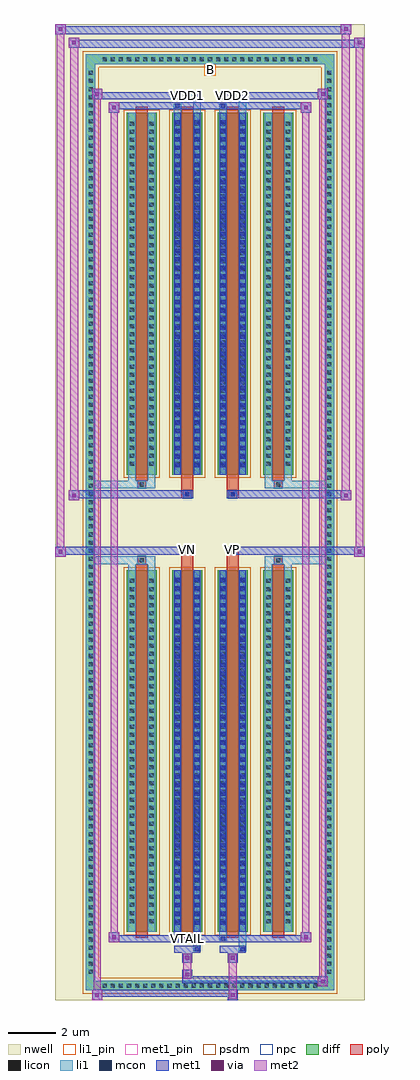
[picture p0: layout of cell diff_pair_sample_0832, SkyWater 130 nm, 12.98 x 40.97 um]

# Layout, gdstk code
import gdstk
lib = gdstk.Library(unit=1e-6, precision=5e-09)
def R(c, l, rs):  # rectangles x0, y0, x1, y1
    for r in rs: c.add(gdstk.rectangle(r[:2], r[2:], *l))
def A(c, l, x, y, w, h, nx, ny, dx, dy):  # array of equal rectangles
    R(c, l, [(x+i*dx, y+j*dy, x+i*dx+w, y+j*dy+h) for i in range(nx) for j in range(ny)])
def P(c, l, *ps):  # polygons
    for p in ps: c.add(gdstk.Polygon(p, *l))
nwell = (64, 20)
diff = (65, 20)
poly = (66, 20)
licon = (66, 44)
li1_pin = (67, 16)
li1 = (67, 20)
mcon = (67, 44)
met1_pin = (68, 16)
met1 = (68, 20)
via = (68, 44)
met2 = (69, 20)
psdm = (94, 20)
npc = (95, 20)

diff_pair_sample_0832 = lib.new_cell('diff_pair_sample_0832')
R(diff_pair_sample_0832, nwell, [(-6.49,-20.05,6.49,20.92), (-3.81,-18.24,-0.01,-0.82), (0.01,-18.24,3.81,-0.82), (-3.81,0.82,-0.01,18.24), (0.01,0.82,3.81,18.24)])
A(diff_pair_sample_0832, diff, -4.625, -19.65, 0.41, 0.41, 27, 2, 0.34, 38.89)
A(diff_pair_sample_0832, diff, -5.22, -19.075, 0.41, 0.41, 1, 112, 0, 0.34)
A(diff_pair_sample_0832, diff, 4.81, -19.075, 0.41, 0.41, 1, 112, 0, 0.34)
A(diff_pair_sample_0832, diff, -3.5, -17.195, 1.27, 15.19, 4, 2, 1.91, 19.2)
R(diff_pair_sample_0832, diff, [(-4.625,-19.65,4.625,-19.24), (-5.22,-19.075,-4.81,19.075), (4.81,-19.075,5.22,19.075), (-4.625,19.24,4.625,19.65)])
P(diff_pair_sample_0832, diff, [(5.22,19.65),(-5.22,19.65),(-5.22,-19.24),(-4.81,-19.24),(-4.81,19.24),(4.81,19.24),(4.81,-19.24),(-4.81,-19.24),(-5.22,-19.24),(-5.22,-19.65),(5.22,-19.65)])
A(diff_pair_sample_0832, poly, -3.11, -17.445, 0.49, 15.69, 4, 2, 1.91, 19.2)
R(diff_pair_sample_0832, poly, [(-3.03,-1.755,-2.7,-1.425), (-3.03,-1.755,-2.7,-1.425), (-1.2,-1.755,-0.71,-1.35), (0.71,-1.755,1.2,-1.35), (2.7,-1.755,3.03,-1.425), (2.7,-1.755,3.03,-1.425), (-1.2,-1.35,-0.71,-1.02), (-1.12,-1.35,-0.79,-1.02), (0.71,-1.35,1.2,-1.02), (0.79,-1.35,1.12,-1.02), (-1.2,1.02,-0.71,1.35), (-1.12,1.02,-0.79,1.35), (0.71,1.02,1.2,1.35), (0.79,1.02,1.12,1.35), (-1.2,1.35,-0.71,1.755), (0.71,1.35,1.2,1.755), (-3.03,1.425,-2.7,1.755), (-3.03,1.425,-2.7,1.755), (2.7,1.425,3.03,1.755), (2.7,1.425,3.03,1.755)])
A(diff_pair_sample_0832, licon, -4.505, -19.53, 0.17, 0.17, 27, 2, 0.34, 38.89)
A(diff_pair_sample_0832, licon, -5.1, -18.955, 0.17, 0.17, 1, 112, 0, 0.34)
A(diff_pair_sample_0832, licon, 4.93, -18.955, 0.17, 0.17, 1, 112, 0, 0.34)
A(diff_pair_sample_0832, licon, -3.36, -16.825, 0.17, 0.17, 1, 43, 0, 0.34)
A(diff_pair_sample_0832, licon, -2.54, -16.825, 0.17, 0.17, 1, 43, 0, 0.34)
A(diff_pair_sample_0832, licon, -1.45, -16.825, 0.17, 0.17, 1, 43, 0, 0.34)
A(diff_pair_sample_0832, licon, -0.63, -16.825, 0.17, 0.17, 1, 43, 0, 0.34)
A(diff_pair_sample_0832, licon, 0.46, -16.825, 0.17, 0.17, 1, 43, 0, 0.34)
A(diff_pair_sample_0832, licon, 1.28, -16.825, 0.17, 0.17, 1, 43, 0, 0.34)
A(diff_pair_sample_0832, licon, 2.37, -16.825, 0.17, 0.17, 1, 43, 0, 0.34)
A(diff_pair_sample_0832, licon, 3.19, -16.825, 0.17, 0.17, 1, 43, 0, 0.34)
A(diff_pair_sample_0832, licon, -3.36, 2.375, 0.17, 0.17, 1, 43, 0, 0.34)
A(diff_pair_sample_0832, licon, -2.54, 2.375, 0.17, 0.17, 1, 43, 0, 0.34)
A(diff_pair_sample_0832, licon, -1.45, 2.375, 0.17, 0.17, 1, 43, 0, 0.34)
A(diff_pair_sample_0832, licon, -0.63, 2.375, 0.17, 0.17, 1, 43, 0, 0.34)
A(diff_pair_sample_0832, licon, 0.46, 2.375, 0.17, 0.17, 1, 43, 0, 0.34)
A(diff_pair_sample_0832, licon, 1.28, 2.375, 0.17, 0.17, 1, 43, 0, 0.34)
A(diff_pair_sample_0832, licon, 2.37, 2.375, 0.17, 0.17, 1, 43, 0, 0.34)
A(diff_pair_sample_0832, licon, 3.19, 2.375, 0.17, 0.17, 1, 43, 0, 0.34)
R(diff_pair_sample_0832, licon, [(-2.95,-1.675,-2.78,-1.505), (2.78,-1.675,2.95,-1.505), (-1.04,-1.27,-0.87,-1.1), (0.87,-1.27,1.04,-1.1), (-1.04,1.1,-0.87,1.27), (0.87,1.1,1.04,1.27), (-2.95,1.505,-2.78,1.675), (2.78,1.505,2.95,1.675)])
R(diff_pair_sample_0832, li1_pin, [(-0.25,18.74,0.25,19.24)])
A(diff_pair_sample_0832, li1, -4.585, -19.61, 0.33, 0.33, 27, 2, 0.34, 38.89)
A(diff_pair_sample_0832, li1, -5.18, -19.035, 0.33, 0.33, 1, 112, 0, 0.34)
A(diff_pair_sample_0832, li1, 4.85, -19.035, 0.33, 0.33, 1, 112, 0, 0.34)
A(diff_pair_sample_0832, li1, -3.44, -16.905, 0.33, 0.33, 1, 43, 0, 0.34)
A(diff_pair_sample_0832, li1, -2.62, -16.905, 0.33, 0.33, 1, 43, 0, 0.34)
A(diff_pair_sample_0832, li1, -1.53, -16.905, 0.33, 0.33, 1, 43, 0, 0.34)
A(diff_pair_sample_0832, li1, -0.71, -16.905, 0.33, 0.33, 1, 43, 0, 0.34)
A(diff_pair_sample_0832, li1, 0.38, -16.905, 0.33, 0.33, 1, 43, 0, 0.34)
A(diff_pair_sample_0832, li1, 1.2, -16.905, 0.33, 0.33, 1, 43, 0, 0.34)
A(diff_pair_sample_0832, li1, 2.29, -16.905, 0.33, 0.33, 1, 43, 0, 0.34)
A(diff_pair_sample_0832, li1, 3.11, -16.905, 0.33, 0.33, 1, 43, 0, 0.34)
A(diff_pair_sample_0832, li1, -1.45, -16.885, 0.17, 0.17, 1, 41, 0, 0.36)
A(diff_pair_sample_0832, li1, -0.63, -16.885, 0.17, 0.17, 1, 41, 0, 0.36)
A(diff_pair_sample_0832, li1, 0.46, -16.885, 0.17, 0.17, 1, 41, 0, 0.36)
A(diff_pair_sample_0832, li1, 1.28, -16.885, 0.17, 0.17, 1, 41, 0, 0.36)
A(diff_pair_sample_0832, li1, -3.44, 2.295, 0.33, 0.33, 1, 43, 0, 0.34)
A(diff_pair_sample_0832, li1, -2.62, 2.295, 0.33, 0.33, 1, 43, 0, 0.34)
A(diff_pair_sample_0832, li1, -1.53, 2.295, 0.33, 0.33, 1, 43, 0, 0.34)
A(diff_pair_sample_0832, li1, -0.71, 2.295, 0.33, 0.33, 1, 43, 0, 0.34)
A(diff_pair_sample_0832, li1, 0.38, 2.295, 0.33, 0.33, 1, 43, 0, 0.34)
A(diff_pair_sample_0832, li1, 1.2, 2.295, 0.33, 0.33, 1, 43, 0, 0.34)
A(diff_pair_sample_0832, li1, 2.29, 2.295, 0.33, 0.33, 1, 43, 0, 0.34)
A(diff_pair_sample_0832, li1, 3.11, 2.295, 0.33, 0.33, 1, 43, 0, 0.34)
A(diff_pair_sample_0832, li1, -1.45, 2.315, 0.17, 0.17, 1, 41, 0, 0.36)
A(diff_pair_sample_0832, li1, -0.63, 2.315, 0.17, 0.17, 1, 41, 0, 0.36)
A(diff_pair_sample_0832, li1, 0.46, 2.315, 0.17, 0.17, 1, 41, 0, 0.36)
A(diff_pair_sample_0832, li1, 1.28, 2.315, 0.17, 0.17, 1, 41, 0, 0.36)
R(diff_pair_sample_0832, li1, [(-5.22,-19.65,-4.81,-19.24), (-5.22,-19.65,-4.81,-19.24), (-4.81,-19.65,4.81,-19.24), (4.81,-19.65,5.22,-19.24), (4.81,-19.65,5.22,-19.24), (-5.22,-19.24,-4.81,19.24), (4.81,-19.24,5.22,19.24), (-0.71,-18,-0.38,-17.195), (-0.63,-18,-0.46,-17.83), (1.2,-18,1.53,-17.195), (1.28,-18,1.45,-17.83), (-1.53,-17.57,-1.2,-17.195), (-1.45,-17.57,-1.28,-17.4), (0.38,-17.57,0.71,-17.195), (0.46,-17.57,0.63,-17.4), (-3.44,-17.195,-3.11,-2.005), (-2.62,-17.195,-2.29,-2.005), (-1.53,-17.195,-1.2,-2.005), (-0.71,-17.195,-0.38,-2.005), (0.38,-17.195,0.71,-2.005), (1.2,-17.195,1.53,-2.005), (2.29,-17.195,2.62,-2.005), (3.11,-17.195,3.44,-2.005), (-1.45,-16.885,-1.28,-2.315), (-0.63,-16.885,-0.46,-2.315), (0.46,-16.885,0.63,-2.315), (1.28,-16.885,1.45,-2.315), (-3.44,-2.005,-3.11,-1.425), (-2.62,-2.005,-2.29,-1.425), (2.29,-2.005,2.62,-1.425), (3.11,-2.005,3.44,-1.425), (-5.22,-1.755,-3.03,-1.425), (-3.44,-1.755,-3.03,-1.425), (-3.03,-1.755,-2.7,-1.425), (-2.7,-1.755,-2.29,-1.425), (2.29,-1.755,2.7,-1.425), (2.7,-1.755,3.03,-1.425), (2.7,-1.755,5.22,-1.425), (3.03,-1.755,3.44,-1.425), (-1.12,-1.35,-0.79,-1.02), (0.79,-1.35,1.12,-1.02), (-1.12,1.02,-0.79,1.35), (0.79,1.02,1.12,1.35), (-5.22,1.425,-3.03,1.755), (-3.44,1.425,-3.03,1.755), (-3.44,1.425,-3.11,2.005), (-3.03,1.425,-2.7,1.755), (-2.7,1.425,-2.29,1.755), (-2.62,1.425,-2.29,2.005), (2.29,1.425,2.7,1.755), (2.29,1.425,2.62,2.005), (2.7,1.425,3.03,1.755), (2.7,1.425,5.22,1.755), (3.03,1.425,3.44,1.755), (3.11,1.425,3.44,2.005), (-3.44,2.005,-3.11,17.195), (-2.62,2.005,-2.29,17.195), (-1.53,2.005,-1.2,17.195), (-0.71,2.005,-0.38,17.195), (0.38,2.005,0.71,17.195), (1.2,2.005,1.53,17.195), (2.29,2.005,2.62,17.195), (3.11,2.005,3.44,17.195), (-1.45,2.315,-1.28,16.885), (-0.63,2.315,-0.46,16.885), (0.46,2.315,0.63,16.885), (1.28,2.315,1.45,16.885), (-1.53,17.195,-1.2,17.57), (-0.71,17.195,-0.38,18), (0.38,17.195,0.71,17.57), (1.2,17.195,1.53,18), (-1.45,17.4,-1.28,17.57), (0.46,17.4,0.63,17.57), (-0.63,17.83,-0.46,18), (1.28,17.83,1.45,18), (-5.22,19.24,-4.81,19.65), (-5.22,19.24,-4.81,19.65), (-4.81,19.24,4.81,19.65), (4.81,19.24,5.22,19.65), (4.81,19.24,5.22,19.65)])
A(diff_pair_sample_0832, mcon, -1.45, -16.885, 0.17, 0.17, 1, 41, 0, 0.36)
A(diff_pair_sample_0832, mcon, -0.63, -16.885, 0.17, 0.17, 1, 41, 0, 0.36)
A(diff_pair_sample_0832, mcon, 0.46, -16.885, 0.17, 0.17, 1, 41, 0, 0.36)
A(diff_pair_sample_0832, mcon, 1.28, -16.885, 0.17, 0.17, 1, 41, 0, 0.36)
A(diff_pair_sample_0832, mcon, -1.45, 2.315, 0.17, 0.17, 1, 41, 0, 0.36)
A(diff_pair_sample_0832, mcon, -0.63, 2.315, 0.17, 0.17, 1, 41, 0, 0.36)
A(diff_pair_sample_0832, mcon, 0.46, 2.315, 0.17, 0.17, 1, 41, 0, 0.36)
A(diff_pair_sample_0832, mcon, 1.28, 2.315, 0.17, 0.17, 1, 41, 0, 0.36)
R(diff_pair_sample_0832, mcon, [(-0.63,-18,-0.46,-17.83), (1.28,-18,1.45,-17.83), (-1.45,-17.57,-1.28,-17.4), (0.46,-17.57,0.63,-17.4), (-1.04,-1.27,-0.87,-1.1), (0.87,-1.27,1.04,-1.1), (-1.04,1.1,-0.87,1.27), (0.87,1.1,1.04,1.27), (-1.45,17.4,-1.28,17.57), (0.46,17.4,0.63,17.57), (-0.63,17.83,-0.46,18), (1.28,17.83,1.45,18)])
R(diff_pair_sample_0832, met1_pin, [(-1.09,-17.61,-0.82,-17.34), (-1.09,-1.29,-0.82,-1.02), (0.82,-1.29,1.09,-1.02), (-1.09,17.79,-0.82,18.06), (0.82,17.79,1.09,18.06)])
A(diff_pair_sample_0832, met1, -1.51, -16.945, 0.29, 0.29, 1, 41, 0, 0.36)
A(diff_pair_sample_0832, met1, -0.69, -16.945, 0.29, 0.29, 1, 41, 0, 0.36)
A(diff_pair_sample_0832, met1, 0.4, -16.945, 0.29, 0.29, 1, 41, 0, 0.36)
A(diff_pair_sample_0832, met1, 1.22, -16.945, 0.29, 0.29, 1, 41, 0, 0.36)
A(diff_pair_sample_0832, met1, -1.51, 2.255, 0.29, 0.29, 1, 41, 0, 0.36)
A(diff_pair_sample_0832, met1, -0.69, 2.255, 0.29, 0.29, 1, 41, 0, 0.36)
A(diff_pair_sample_0832, met1, 0.4, 2.255, 0.29, 0.29, 1, 41, 0, 0.36)
A(diff_pair_sample_0832, met1, 1.22, 2.255, 0.29, 0.29, 1, 41, 0, 0.36)
R(diff_pair_sample_0832, met1, [(-4.95,-20.05,-4.52,-19.62), (0.74,-20.05,1.17,-19.62), (-4.95,-19.91,1.17,-19.62), (4.52,-19.48,4.95,-19.05), (-1.17,-19.34,4.95,-19.05), (-1.17,-19.2,-0.74,-18.77), (-1.17,-18.49,-0.74,-18.06), (0.74,-18.49,1.17,-18.06), (-1.51,-18.06,-0.4,-17.77), (-0.69,-18.06,-0.4,-17.77), (0.4,-18.06,1.51,-17.77), (1.22,-18.06,1.51,-17.77), (-4.24,-17.63,-3.81,-17.2), (-4.24,-17.63,-1.51,-17.34), (-1.51,-17.63,-1.22,-17.34), (-1.51,-17.63,-0.4,-17.34), (-0.4,-17.63,0.4,-17.34), (0.4,-17.63,0.69,-17.34), (0.4,-17.63,1.51,-17.34), (1.51,-17.63,4.24,-17.34), (3.81,-17.63,4.24,-17.2), (-1.51,-17.195,-1.22,-2.005), (-0.69,-17.195,-0.4,-2.005), (0.4,-17.195,0.69,-2.005), (1.22,-17.195,1.51,-2.005), (-6.49,-1.45,-6.06,-1.02), (6.06,-1.45,6.49,-1.02), (-6.49,-1.35,-0.71,-1.02), (-1.2,-1.35,-0.71,-1.02), (0.71,-1.35,1.2,-1.02), (0.71,-1.35,6.49,-1.02), (-1.1,-1.33,-0.81,-1.04), (0.81,-1.33,1.1,-1.04), (-5.92,0.92,-5.49,1.35), (5.49,0.92,5.92,1.35), (-5.92,1.02,-1.2,1.35), (-1.2,1.02,-0.71,1.35), (0.71,1.02,1.2,1.35), (1.2,1.02,5.92,1.35), (-1.1,1.04,-0.81,1.33), (0.81,1.04,1.1,1.33), (-1.51,2.005,-1.22,17.195), (-0.69,2.005,-0.4,17.195), (0.4,2.005,0.69,17.195), (1.22,2.005,1.51,17.195), (-4.24,17.2,-3.81,17.63), (3.81,17.2,4.24,17.63), (-4.24,17.34,-1.51,17.63), (-1.51,17.34,-1.22,17.63), (-1.51,17.34,-0.4,17.63), (-0.4,17.34,0.4,17.63), (0.4,17.34,0.69,17.63), (0.4,17.34,1.51,17.63), (1.51,17.34,4.24,17.63), (-4.95,17.77,-4.52,18.2), (-4.95,17.77,-1.51,18.06), (-1.51,17.77,-0.4,18.06), (-0.69,17.77,-0.4,18.06), (0.4,17.77,1.51,18.06), (1.22,17.77,1.51,18.06), (1.51,17.77,4.95,18.06), (4.52,17.77,4.95,18.2), (-5.92,19.92,-5.49,20.35), (-5.92,19.92,-3.81,20.25), (-3.81,19.92,3.81,20.25), (3.81,19.92,6.49,20.25), (6.06,19.92,6.49,20.35), (-6.49,20.49,-6.06,20.92), (-6.49,20.49,-3.81,20.82), (-3.81,20.49,3.81,20.82), (3.81,20.49,5.92,20.82), (5.49,20.49,5.92,20.92)])
R(diff_pair_sample_0832, via, [(-4.81,-19.91,-4.66,-19.76), (0.88,-19.91,1.03,-19.76), (4.66,-19.34,4.81,-19.19), (-1.03,-19.06,-0.88,-18.91), (-1.03,-18.35,-0.88,-18.2), (0.88,-18.35,1.03,-18.2), (-4.1,-17.49,-3.95,-17.34), (3.95,-17.49,4.1,-17.34), (-6.35,-1.31,-6.2,-1.16), (6.2,-1.31,6.35,-1.16), (-5.78,1.06,-5.63,1.21), (5.63,1.06,5.78,1.21), (-4.1,17.34,-3.95,17.49), (3.95,17.34,4.1,17.49), (-4.81,17.91,-4.66,18.06), (4.66,17.91,4.81,18.06), (-5.78,20.06,-5.63,20.21), (6.2,20.06,6.35,20.21), (-6.35,20.63,-6.2,20.78), (5.63,20.63,5.78,20.78)])
R(diff_pair_sample_0832, met2, [(-4.95,-20.05,-4.52,-19.62), (-4.88,-20.05,-4.59,18.2), (-4.59,-20.05,-4.52,-19.62), (-4.9,-20,-4.57,-19.67), (0.79,-20,1.12,-19.67), (0.79,-19.67,1.12,-18.44), (4.52,-19.48,4.95,-19.05), (4.59,-19.48,4.88,18.2), (4.88,-19.48,4.95,-19.05), (4.57,-19.43,4.9,-19.1), (-1.12,-19.15,-0.79,-18.82), (-1.12,-18.82,-0.79,-18.44), (-1.12,-18.44,-0.79,-18.11), (0.79,-18.44,1.12,-18.11), (-4.24,-17.63,-3.81,-17.2), (-4.17,-17.63,-3.88,17.63), (-3.88,-17.63,-3.81,-17.2), (3.81,-17.63,4.24,-17.2), (3.88,-17.63,4.17,17.63), (4.17,-17.63,4.24,-17.2), (-4.19,-17.58,-3.86,-17.25), (3.86,-17.58,4.19,-17.25), (-6.49,-1.45,-6.06,-1.02), (-6.44,-1.45,-6.11,20.92), (-6.11,-1.45,-6.06,-1.02), (6.06,-1.45,6.49,-1.02), (6.11,-1.45,6.44,20.35), (6.44,-1.45,6.49,-1.02), (-6.44,-1.4,-6.11,-1.07), (6.11,-1.4,6.44,-1.07), (-5.92,0.92,-5.49,1.35), (-5.87,0.92,-5.54,20.35), (-5.54,0.92,-5.49,1.35), (5.49,0.92,5.92,1.35), (5.54,0.92,5.87,20.92), (5.87,0.92,5.92,1.35), (-5.87,0.97,-5.54,1.3), (5.54,0.97,5.87,1.3), (-4.24,17.2,-3.81,17.63), (-3.88,17.2,-3.81,17.63), (3.81,17.2,4.24,17.63), (4.17,17.2,4.24,17.63), (-4.19,17.25,-3.86,17.58), (3.86,17.25,4.19,17.58), (-4.95,17.77,-4.52,18.2), (-4.59,17.77,-4.52,18.2), (4.52,17.77,4.95,18.2), (4.88,17.77,4.95,18.2), (-4.9,17.82,-4.57,18.15), (4.57,17.82,4.9,18.15), (-5.92,19.92,-5.49,20.35), (-5.54,19.92,-5.49,20.35), (6.06,19.92,6.49,20.35), (6.44,19.92,6.49,20.35), (-5.87,19.97,-5.54,20.3), (6.11,19.97,6.44,20.3), (-6.49,20.49,-6.06,20.92), (-6.11,20.49,-6.06,20.92), (5.49,20.49,5.92,20.92), (5.87,20.49,5.92,20.92), (-6.44,20.54,-6.11,20.87), (5.54,20.54,5.87,20.87)])
A(diff_pair_sample_0832, psdm, -3.63, -17.325, 1.53, 15.45, 4, 2, 1.91, 19.2)
P(diff_pair_sample_0832, psdm, [(5.35,19.78),(-5.35,19.78),(-5.35,-19.11),(-4.68,-19.11),(-4.68,19.11),(4.68,19.11),(4.68,-19.11),(-4.68,-19.11),(-5.35,-19.11),(-5.35,-19.78),(5.35,-19.78)])
R(diff_pair_sample_0832, npc, [(-3.05,-1.775,-2.68,-1.405), (2.68,-1.775,3.05,-1.405), (-1.14,-1.37,-0.77,-1), (0.77,-1.37,1.14,-1), (-1.14,1,-0.77,1.37), (0.77,1,1.14,1.37), (-3.05,1.405,-2.68,1.775), (2.68,1.405,3.05,1.775)])
diff_pair_sample_0832.add(gdstk.Label('VTAIL', (-0.955,-17.475), layer=68, texttype=5))
diff_pair_sample_0832.add(gdstk.Label('VN', (-0.955,-1.155), layer=68, texttype=5))
diff_pair_sample_0832.add(gdstk.Label('VP', (0.955,-1.155), layer=68, texttype=5))
diff_pair_sample_0832.add(gdstk.Label('B', (0,18.99), layer=67, texttype=5))
diff_pair_sample_0832.add(gdstk.Label('VDD2', (0.955,17.925), layer=68, texttype=5))
diff_pair_sample_0832.add(gdstk.Label('VDD1', (-0.955,17.925), layer=68, texttype=5))

lib.write_gds('diff_pair_sample_0832.gds')
